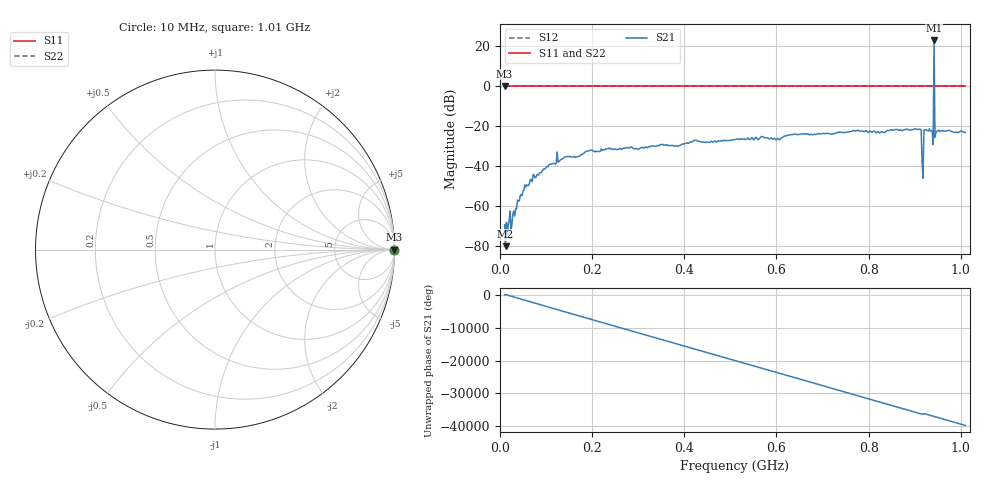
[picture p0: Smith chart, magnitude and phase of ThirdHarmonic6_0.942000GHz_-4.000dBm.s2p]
! 8/16/2025 6:38:07 AM
! C:\ANRITSUVNA\TEMP\TEMP.S2P
! CHANNEL.1
! TR.MEASUREMENT
! RAW.DATA
! RF.CORRECTION.OFF
! AVERAGING.OFF
! IF.BANDWIDTH: 5KHZ
! SWEEPTYPE:  FREQ.SWEEP(Linear)
! Reference Plane Port Info
! PORT:  PORT1  PORT2
! DISTANCE:  0  m  0  m
! TIME:  0  s  0  s
! PHASE.OFFSET:  0  deg.  0  deg.
! LOSS:  0  dB  0  dB
! REF.LOSS:  0  dB  0  dB
! REF.FREQ:  0  Hz  0  Hz
! Power Info
! POWER:  -20  dBm  -20  dBm
! EFF.POWER:  -20  dBm  -20  dBm
! SOURCE.ATTEN:  0  dB  0  dB
! TEST.ATTEN:  0  dB  0  dB
# GHZ S RI R 50.0
! FREQ.GHZ  S11RE  S11IM  S21RE  S21IM  S12RE  S12IM  S22RE  S22IM
!; PortSelection: Port_12
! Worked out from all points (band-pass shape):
!   501 points, 10 MHz to 1.01 GHz, reference 50 ohm
!   highest |S21| = 22.69 dB at 942 MHz (marker M1); lowest = -80.1 dB at 12 MHz (marker M2)
!   |S21| within 3 dB of the highest: 941.8846 MHz to 942.1239 MHz (239.3 kHz wide, 0.0254 % of centre)
!   lowest |S11| = 0.0 dB at 10 MHz (marker M3)
!   |S11| at or under -10 dB: nowhere
!   |S22| runs from 0.0 to 0.0 dB; largest |S21 - S12| = 14
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0.01  1 0  0.000243 0.000236  1 0  1 0
0.012  1 0  9.34e-05 3.15e-05  1 0  1 0
0.028  1 0  -0.000628 -0.000105  1 0  1 0
0.054  1 0  -0.00305 -0.00143  1 0  1 0
0.07  1 0  -0.00143 -0.00384  1 0  1 0
0.128  1 0  0.00749 0.0105  1 0  1 0
0.178  1 0  -0.0184 -0.00623  1 0  1 0
0.344  1 0  0.0314 -0.00452  1 0  1 0
0.51  1 0  -0.044 0.0109  1 0  1 0
0.678  1 0  -0.0209 -0.056  1 0  1 0
0.844  1 0  0.05 0.0575  1 0  1 0
0.91  1 0  -0.00918 -0.0821  1 0  1 0
0.914  1 0  -0.0143 0.0782  1 0  1 0
0.918  1 0  0.00325 0.00366  1 0  1 0
0.92  1 0  -0.058 -0.0525  1 0  1 0
0.924  1 0  0.0411 0.0695  1 0  1 0
0.936  1 0  0.0327 -0.068  1 0  1 0
0.938  1 0  -0.0611 -0.0444  1 0  1 0
0.942  1 0  -6.138 12.17  1 0  1 0
0.946  1 0  -0.0166 -0.0656  1 0  1 0
0.948  1 0  -0.0733 0.00297  1 0  1 0
1.01  1 0  -0.0648 -0.0217  1 0  1 0
